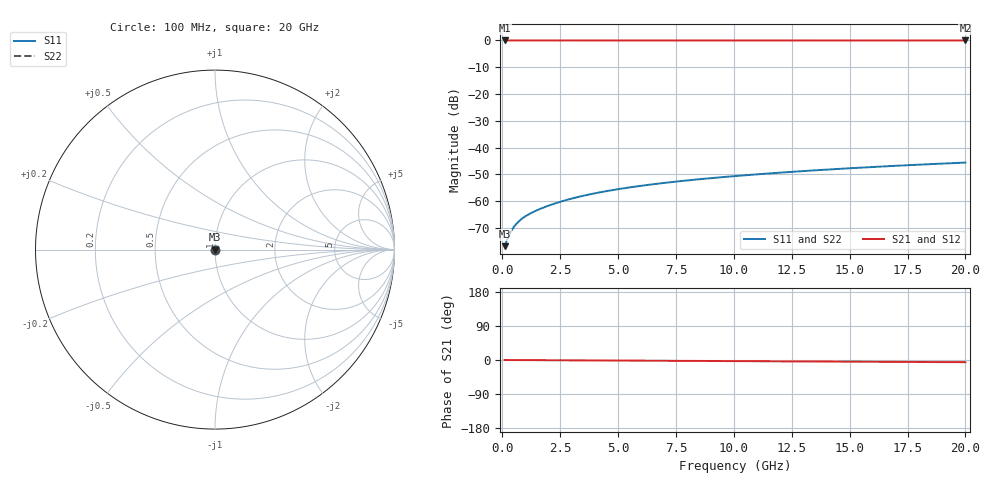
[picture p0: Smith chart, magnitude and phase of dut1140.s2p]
! Touchstone file exported from HFSS 2026.1.0
!  File:  C:/ffzhzh/LocalFiles/Ansys_Project_Files/temp_train_TSV_1140_1783191363_51560.aedt
!  Generated:  02:57:26 AM Jul  5, 2026
!  Design:  TSV
!  Project:  temp_train_TSV_1140_1783191363_51560
! Variables:
!  h_bsmrdl = 2um
!  h_ox = 20um
!  h_rdl = 5um
!  h_sub = 56.74um
!  h_tmrdl = 5um
!  h_tsv = 56.74um
!  h_via = 3um
!  l_bsmrdl = 300um
!  l_sub = 416.7um
!  l_tmrdl = 200um
!  m_sub = 200um
!  pitch = 35.45um
!  r_tsv = 8.35um
!  s_tmrdl = 10um
!  w_bsmrdl = 18um
!  w_sub = 500um
!  w_tmrdl = 12um
!  x_tsv_center1 = 206um
!  x_tsv_center2 = 524um
!  x_tsv_center3 = 736um
!  x_tsv_center4 = 1054um
!  x_tsv_center5 = 1266um
!  x_tsv_center6 = 1584um
# GHz S MA R 50.000000
! Terminal data exported
! Port[1] = TSV1_1_T1
! Port[2] = TSV1_1_T2
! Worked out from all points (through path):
!   200 points, 100 MHz to 20 GHz, reference 50 ohm
!   highest |S21| = 0.00 dB at 100 MHz (marker M1); lowest = 0.0 dB at 20 GHz (marker M2)
!   lowest |S11| = -76.8 dB at 100 MHz (marker M3), VSWR 1.00, Z = 50 + j0.00614 ohm
!   |S11| at or under -10 dB: start of sweep to end of sweep
!   |S22| runs from -76.8 to -45.6 dB; largest |S21 - S12| = 2.2e-15
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0.1  0.0001448 25.1  0.9999 -0.0  0.9999 -0.0  0.0001448 25.1
! Gamma 0 0 0 0
! Port Impedance 50 0 50 0
0.3  0.0002347 48.1  0.9998 -0.1  0.9998 -0.1  0.0002347 48.1
0.4  0.0002843 52.0  0.9998 -0.1  0.9998 -0.1  0.0002843 52.0
0.5  0.0003314 54.1  0.9998 -0.2  0.9998 -0.2  0.0003314 54.1
0.6  0.0003751 55.3  0.9998 -0.2  0.9998 -0.2  0.0003751 55.3
0.7  0.0004157 56.1  0.9998 -0.2  0.9998 -0.2  0.0004157 56.1
0.8  0.0004535 56.8  0.9998 -0.2  0.9998 -0.2  0.0004535 56.8
1  0.0005229 58.0  0.9997 -0.3  0.9997 -0.3  0.0005229 58.0
1.2  0.0005871 59.1  0.9997 -0.4  0.9997 -0.4  0.0005871 59.1
1.4  0.0006486 60.2  0.9997 -0.4  0.9997 -0.4  0.0006486 60.2
2  0.0008273 63.2  0.9996 -0.6  0.9996 -0.6  0.0008273 63.2
2.7  0.001033 65.6  0.9996 -0.8  0.9996 -0.8  0.001033 65.6
3.5  0.001263 67.3  0.9995 -1.0  0.9995 -1.0  0.001263 67.3
4.2  0.00146 68.3  0.9995 -1.2  0.9995 -1.2  0.00146 68.3
5  0.001678 69.0  0.9994 -1.5  0.9994 -1.5  0.001678 69.0
5.9  0.001915 69.6  0.9994 -1.7  0.9994 -1.7  0.001915 69.6
6.8  0.002145 70.1  0.9993 -2.0  0.9993 -2.0  0.002145 70.1
8.3  0.002519 70.7  0.9993 -2.4  0.9993 -2.4  0.00252 70.7
10.1  0.002958 71.3  0.9992 -3.0  0.9992 -3.0  0.002958 71.3
13.4  0.003744 71.9  0.9991 -3.9  0.9991 -3.9  0.003744 71.9
16.7  0.004512 72.0  0.999 -4.9  0.999 -4.9  0.004512 71.9
20  0.005258 71.7  0.9988 -5.8  0.9988 -5.8  0.005259 71.7
